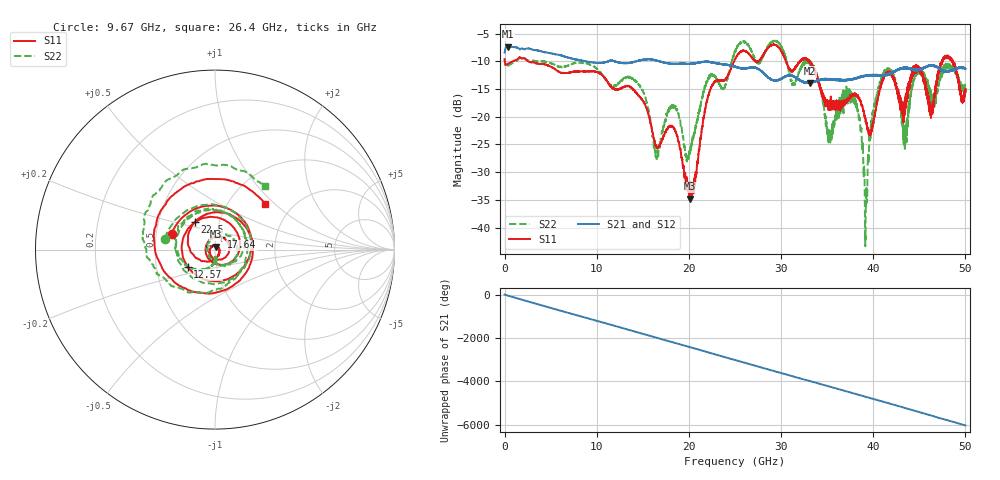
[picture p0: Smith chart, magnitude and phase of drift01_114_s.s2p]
!Created with skrf (http://scikit-rf.org).
# Hz S RI R 50.0
!freq ReS11 ImS11 ReS21 ImS21 ReS12 ImS12 ReS22 ImS22
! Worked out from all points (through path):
!   10001 points, 300 kHz to 50 GHz, reference 50 ohm
!   highest |S21| = -7.33 dB at 325.3 MHz (marker M1); lowest = -13.9 dB at 33.1 GHz (marker M2)
!   group delay of S21, straight-line fit = 335 ps
!   lowest |S11| = -34.8 dB at 20.16 GHz (marker M3), VSWR 1.04, Z = 50.7 + j1.71 ohm
!   |S11| at or under -10 dB: 2.556 GHz to 24.9 GHz (22.35 GHz wide, 163 % of centre); 30.53 GHz to 32.02 GHz (1.484 GHz wide, 4.75 % of centre); 33.08 GHz to 47.45 GHz (14.37 GHz wide, 35.7 % of centre) (the widest 3 of 28)
!   |S22| runs from -43.3 to -6.2 dB; largest |S21 - S12| = 0.011
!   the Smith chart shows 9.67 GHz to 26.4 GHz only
!   S11 on the Smith chart (normalised r, x): 9.67 GHz: 0.60, +0.11; 12.57 GHz: 0.72, -0.15; 17.64 GHz: 1.06, +0.15; 22.5 GHz: 0.77, +0.25; 26.4 GHz: 1.46, +0.87
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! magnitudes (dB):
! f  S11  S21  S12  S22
! 300 kHz  -9.6  -8.4  -8.5  -9.5
! 325.3 MHz  -10.5  -7.3  -7.3  -10.9
! 8.335 GHz  -11.8  -9.9  -9.8  -10.2
! 9.67 GHz  -11.8  -10.2  -10.2  -10.9
! 12.57 GHz  -14.9  -10.3  -10.3  -13.7
! 16.67 GHz  -25.6  -9.9  -9.9  -27.0
! 17.64 GHz  -22.2  -10.3  -10.3  -19.7
! 20.16 GHz  -34.8  -10.5  -10.5  -25.9
! 22.5 GHz  -14.4  -10.2  -10.2  -12.6
! 25 GHz  -9.6  -11.0  -11.0  -8.3
! 26.4 GHz  -8.5  -11.2  -11.2  -6.9
! 33.1 GHz  -10.1  -13.9  -13.8  -10.4
! 33.34 GHz  -10.6  -13.8  -13.8  -10.5
! 35.25 GHz  -17.3  -13.3  -13.3  -22.8
! 37.97 GHz  -15.7  -13.1  -13.0  -17.1
! 39.17 GHz  -20.4  -12.6  -12.6  -40.9
! 40.14 GHz  -19.8  -12.5  -12.5  -17.7
! 41.67 GHz  -12.0  -12.3  -12.4  -12.1
! 43.44 GHz  -16.9  -11.2  -11.1  -25.7
! 44.88 GHz  -11.0  -11.5  -11.5  -11.9
! 46.28 GHz  -19.0  -10.7  -10.7  -16.2
! 50 GHz  -15.4  -11.3  -11.3  -14.9
